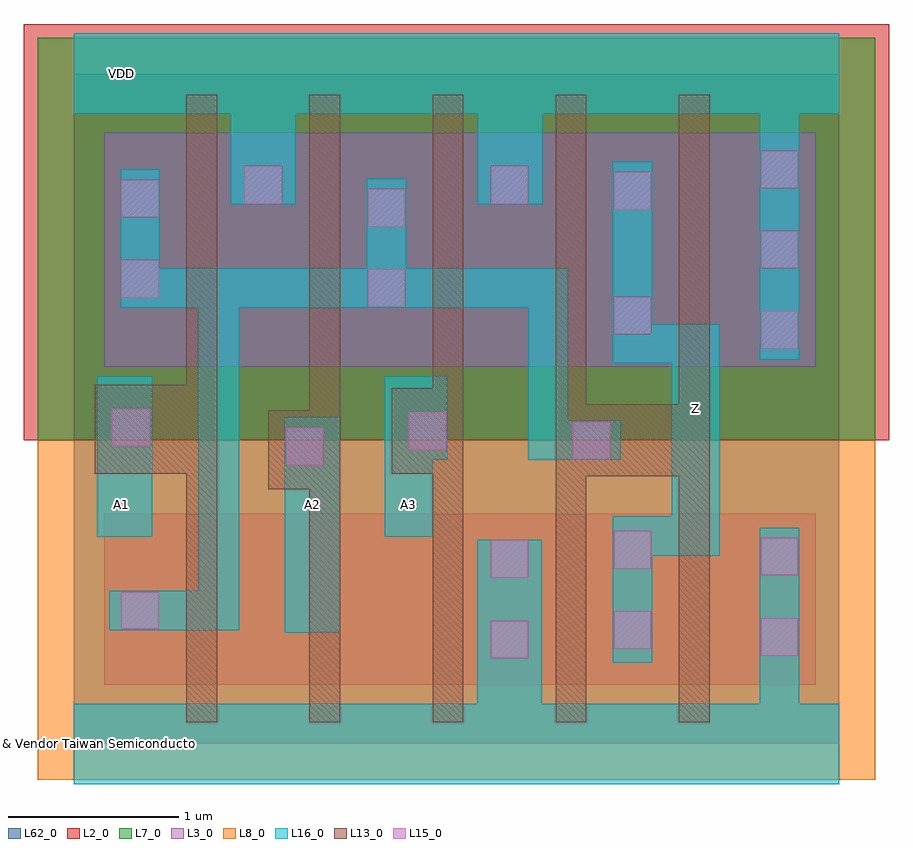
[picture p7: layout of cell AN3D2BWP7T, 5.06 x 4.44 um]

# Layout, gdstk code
import gdstk
lib = gdstk.Library(unit=1e-6, precision=1e-09)
def R(c, l, rs):  # rectangles x0, y0, x1, y1
    for r in rs: c.add(gdstk.rectangle(r[:2], r[2:], *l))
def A(c, l, x, y, w, h, nx, ny, dx, dy):  # array of equal rectangles
    R(c, l, [(x+i*dx, y+j*dy, x+i*dx+w, y+j*dy+h) for i in range(nx) for j in range(ny)])
def P(c, l, *ps):  # polygons
    for p in ps: c.add(gdstk.Polygon(p, *l))
L2_0 = (2, 0)
L3_0 = (3, 0)
L7_0 = (7, 0)
L8_0 = (8, 0)
L13_0 = (13, 0)
L15_0 = (15, 0)
L16_0 = (16, 0)
L62_0 = (62, 0)

an3d2bwp7t = lib.new_cell('AN3D2BWP7T')
R(an3d2bwp7t, L2_0, [(-0.29,1.775,4.77,4.21)])
R(an3d2bwp7t, L3_0, [(0.18,0.345,4.34,1.345), (0.18,2.205,4.34,3.575)])
R(an3d2bwp7t, L7_0, [(-0.21,1.775,4.69,4.13)])
R(an3d2bwp7t, L8_0, [(-0.21,-0.21,4.69,1.775)])
P(an3d2bwp7t, L13_0, [(2.82,0.125),(2.82,3.795),(3,3.795),(3,1.985),(3.54,1.985),(3.54,3.795),(3.72,3.795),(3.72,0.125),(3.54,0.125),(3.54,1.565),(3,1.565),(3,0.125)],
  [(2.1,0.125),(2.1,1.58),(1.86,1.58),(1.86,2.08),(2.1,2.08),(2.1,3.795),(2.28,3.795),(2.28,0.125)],
  [(1.38,0.125),(1.38,1.49),(1.14,1.49),(1.14,1.95),(1.38,1.95),(1.38,3.795),(1.56,3.795),(1.56,0.125)],
  [(0.66,0.125),(0.66,1.58),(0.125,1.58),(0.125,2.1),(0.66,2.1),(0.66,3.795),(0.84,3.795),(0.84,0.125)])
A(an3d2bwp7t, L15_0, 4.02, 2.31, 0.22, 0.22, 1, 3, 0, 0.47)
R(an3d2bwp7t, L15_0, [(2.44,0.5,2.66,0.72), (4.02,0.515,4.24,0.735), (3.16,0.555,3.38,0.775), (0.28,0.67,0.5,0.89), (2.44,0.97,2.66,1.19), (4.02,0.985,4.24,1.205), (3.16,1.025,3.38,1.245), (1.24,1.63,1.46,1.85), (2.92,1.665,3.14,1.885), (1.96,1.72,2.18,1.94), (0.225,1.74,0.445,1.96), (3.16,2.395,3.38,2.615), (1.72,2.555,1.94,2.775), (0.28,2.61,0.5,2.83), (1.72,3.025,1.94,3.245), (0.28,3.08,0.5,3.3), (3.16,3.125,3.38,3.345), (1,3.16,1.22,3.38), (2.44,3.16,2.66,3.38)])
R(an3d2bwp7t, L16_0, [(1.235,0.65,1.56,1.91), (0.14,1.21,0.46,2.15)])
P(an3d2bwp7t, L16_0, [(0,-0.235),(0,0.235),(2.36,0.235),(2.36,1.195),(2.74,1.195),(2.74,0.235),(4.015,0.235),(4.015,1.265),(4.245,1.265),(4.245,0.235),(4.48,0.235),(4.48,-0.235)],
  [(4.015,2.245),(4.015,3.685),(2.745,3.685),(2.745,3.155),(2.365,3.155),(2.365,3.685),(1.3,3.685),(1.3,3.155),(0.92,3.155),(0.92,3.685),(0,3.685),(0,4.155),(4.48,4.155),(4.48,3.685),(4.245,3.685),(4.245,2.245)],
  [(3.155,0.475),(3.155,1.33),(3.5,1.33),(3.5,2.225),(3.155,2.225),(3.155,3.405),(3.385,3.405),(3.385,2.455),(3.78,2.455),(3.78,1.1),(3.385,1.1),(3.385,0.475)],
  [(0.21,0.665),(0.21,0.895),(0.73,0.895),(0.73,2.55),(0.275,2.55),(0.275,3.36),(0.505,3.36),(0.505,2.78),(1.715,2.78),(1.715,3.305),(1.945,3.305),(1.945,2.78),(2.89,2.78),(2.89,1.89),(3.2,1.89),(3.2,1.66),(2.66,1.66),(2.66,2.55),(0.97,2.55),(0.97,0.665)],
  [(1.82,1.21),(1.82,2.15),(2.185,2.15),(2.185,1.66),(2.1,1.66),(2.1,1.21)])
R(an3d2bwp7t, L62_0, [(0,0,4.48,3.92)])
an3d2bwp7t.add(gdstk.Label('& Vendor Taiwan Semiconductor Manufacturing Corp.', (0,0), layer=63, texttype=63))
an3d2bwp7t.add(gdstk.Label('& Product tcb018gbwp7t', (0,0), layer=63, texttype=63))
an3d2bwp7t.add(gdstk.Label('& Version 270a', (0,0), layer=63, texttype=63))
an3d2bwp7t.add(gdstk.Label('& Metric 17.562', (0,0), layer=63, texttype=63))
an3d2bwp7t.add(gdstk.Label('& Distributor TSMC', (0,0), layer=63, texttype=63))
an3d2bwp7t.add(gdstk.Label('& SerialNumber 000000', (0,0), layer=63, texttype=63))
an3d2bwp7t.add(gdstk.Label('& _Instance_tag AN3D2BWP7T', (0,0), layer=63, texttype=63))
an3d2bwp7t.add(gdstk.Label('& Vendor Taiwan Semiconductor Manufacturing Corp.', (0,0), layer=11, texttype=0))
an3d2bwp7t.add(gdstk.Label('& Product tcb018gbwp7t', (0,0), layer=11, texttype=0))
an3d2bwp7t.add(gdstk.Label('& Version 270a', (0,0), layer=11, texttype=0))
an3d2bwp7t.add(gdstk.Label('& Metric 17.562', (0,0), layer=11, texttype=0))
an3d2bwp7t.add(gdstk.Label('& Distributor TSMC', (0,0), layer=11, texttype=0))
an3d2bwp7t.add(gdstk.Label('& SerialNumber 000000', (0,0), layer=11, texttype=0))
an3d2bwp7t.add(gdstk.Label('& _Instance_tag AN3D2BWP7T', (0,0), layer=11, texttype=0))
an3d2bwp7t.add(gdstk.Label('AN3D2BWP7T', (0,0), layer=59, texttype=0))
an3d2bwp7t.add(gdstk.Label('VSS', (0.28,0), layer=40, texttype=0))
an3d2bwp7t.add(gdstk.Label('A1', (0.28,1.4), layer=40, texttype=0))
an3d2bwp7t.add(gdstk.Label('VDD', (0.28,3.92), layer=40, texttype=0))
an3d2bwp7t.add(gdstk.Label('A2', (1.4,1.4), layer=40, texttype=0))
an3d2bwp7t.add(gdstk.Label('A3', (1.96,1.4), layer=40, texttype=0))
an3d2bwp7t.add(gdstk.Label('Z', (3.64,1.96), layer=40, texttype=0))

lib.write_gds('AN3D2BWP7T.gds')
